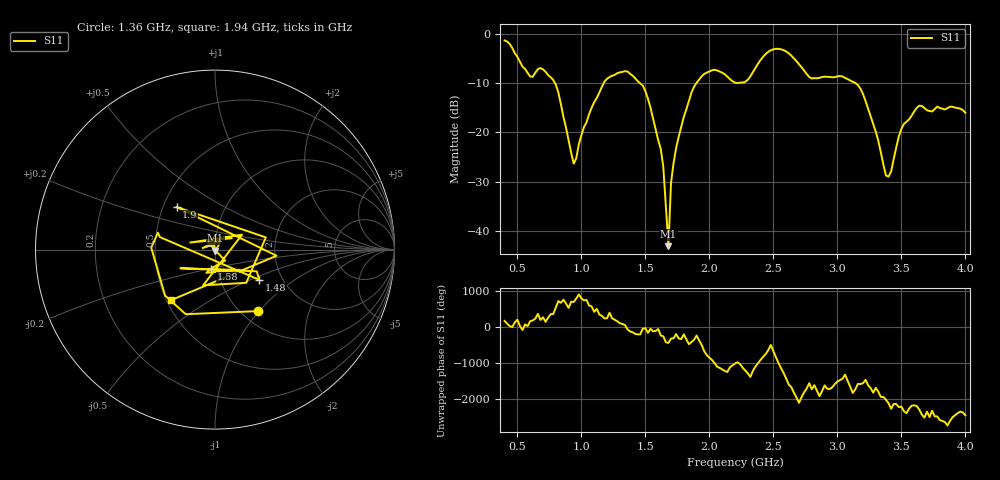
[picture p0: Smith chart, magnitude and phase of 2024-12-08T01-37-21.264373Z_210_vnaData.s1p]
!Created with skrf (http://scikit-rf.org).
# Hz S RI R 50.0
!freq ReS11 ImS11
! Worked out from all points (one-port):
!   181 points, 400 MHz to 4 GHz, reference 50 ohm
!   lowest |S11| = -43.1 dB at 1.68 GHz (marker M1), VSWR 1.01, Z = 50.2 - j0.666 ohm
!   |S11| at or under -10 dB: 794.1 MHz to 1.174 GHz (379.4 MHz wide, 38.6 % of centre); 1.458 GHz to 1.898 GHz (439.5 MHz wide, 26.2 % of centre); 3.143 GHz to end of sweep
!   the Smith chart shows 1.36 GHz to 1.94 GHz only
!   S11 on the Smith chart (normalised r, x): 1.36 GHz: 1.18, -0.98; 1.48 GHz: 1.53, -0.57; 1.58 GHz: 0.94, -0.20; 1.9 GHz: 0.59, +0.31; 1.94 GHz: 0.53, -0.35
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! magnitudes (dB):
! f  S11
! 400 MHz  -1.3
! 600 MHz  -8.6
! 680 MHz  -6.9
! 780 MHz  -9.3
! 860 MHz  -16.9
! 940 MHz  -26.4
! 1.02 GHz  -18.9
! 1.18 GHz  -9.7
! 1.3 GHz  -7.8
! 1.36 GHz  -7.6
! 1.48 GHz  -10.5
! 1.58 GHz  -19.3
! 1.64 GHz  -27.1
! 1.68 GHz  -43.1
! 1.7 GHz  -30.3
! 1.76 GHz  -20.9
! 1.9 GHz  -9.9
! 1.94 GHz  -8.6
! 2.2 GHz  -9.9
! 2.48 GHz  -3.3
! 2.66 GHz  -4.9
! 2.8 GHz  -9.0
! 3.1 GHz  -9.4
! 3.2 GHz  -12.2
! 3.38 GHz  -28.8
! 3.56 GHz  -17.3
! 3.64 GHz  -14.6
! 4 GHz  -16.0
